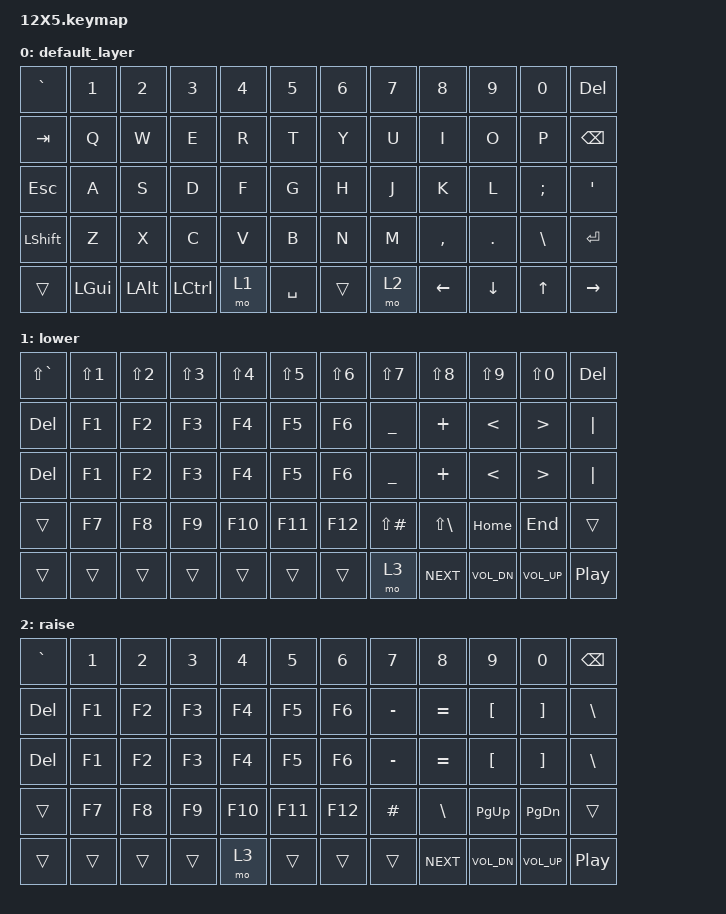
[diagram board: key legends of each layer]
/*
 * Copyright (c) 2020 The ZMK Contributors
 *
 * SPDX-License-Identifier: MIT
 */

#include <behaviors.dtsi>
#include <dt-bindings/zmk/keys.h>
#include <dt-bindings/zmk/bt.h>
#include <dt-bindings/zmk/outputs.h>


/ {
    keymap {
        compatible = "zmk,keymap";

        default_layer {
            /* Qwerty
            * ,-----------------------------------------------------------------------------------.
            * |   `  |   1  |   2  |   3  |   4  |   5  |   6  |   7  |   8  |   9  |   0  | Bksp |
            * |------+------+------+------+------+------+------+------+------+------+------+------|
            * | Tab  |   Q  |   W  |   E  |   R  |   T  |   Y  |   U  |   I  |   O  |   P  | Del  |
            * |------+------+------+------+------+-------------+------+------+------+------+------|
            * | Esc  |   A  |   S  |   D  |   F  |   G  |   H  |   J  |   K  |   L  |   ;  |  "   |
            * |------+------+------+------+------+------|------+------+------+------+------+------|
            * | Shift|   Z  |   X  |   C  |   V  |   B  |   N  |   M  |   ,  |   .  |   /  |Enter |
            * |------+------+------+------+------+------+------+------+------+------+------+------|
            * | Brite| Ctrl | Alt  | GUI  |Lower |    Space    |Raise | Left | Down |  Up  |Right |
            * `-----------------------------------------------------------------------------------'
            */
            bindings = <
                &kp GRAVE     &kp N1     &kp N2     &kp N3     &kp N4     &kp N5     &kp N6     &kp N7     &kp N8     &kp N9     &kp N0     &kp DEL
                &kp TAB       &kp Q      &kp W      &kp E      &kp R      &kp T      &kp Y      &kp U      &kp I      &kp O      &kp P      &kp BSPC
                &kp ESC       &kp A      &kp S      &kp D      &kp F      &kp G      &kp H      &kp J      &kp K      &kp L      &kp SEMI   &kp SQT
                &kp LSHFT     &kp Z      &kp X      &kp C      &kp V      &kp B      &kp N      &kp M      &kp COMMA  &kp DOT    &kp BSLH   &kp RET
                &trans        &kp LGUI   &kp LALT   &kp LCTRL  &mo 1      &kp SPACE  &trans     &mo 2      &kp LEFT   &kp DOWN   &kp UP     &kp RIGHT
            >;
        };


        lower {
            /* Lower
            * ,-----------------------------------------------------------------------------------.
            * |   ~  |   !  |   @  |   #  |   $  |   %  |   ^  |   &  |   *  |   (  |   )  | Bksp |
            * |------+------+------+------+------+-------------+------+------+------+------+------|
            * |   ~  |   !  |   @  |   #  |   $  |   %  |   ^  |   &  |   *  |   -  |   >  | Del  |
            * |------+------+------+------+------+-------------+------+------+------+------+------|
            * | Del  |  F1  |  F2  |  F3  |  F4  |  F5  |  F6  |   -  |   =  |   {  |   }  |  |   |
            * |------+------+------+------+------+------|------+------+------+------+------+------|
            * |CadetL|  F7  |  F8  |  F9  |  F10 |  F11 |  F12 |ISO ~ | MS_BL| MS_BR|      |CadetR|
            * |------+------+------+------+------+------+------+------+------+------+------+------|
            * |      |      |      |      |      |             |      | MS_L | MS_D | MS_U | MS_R |
            * `-----------------------------------------------------------------------------------'
            */
            bindings = <
                &kp LS(GRAVE) &kp LS(N1) &kp LS(N2) &kp LS(N3) &kp LS(N4) &kp LS(N5) &kp LS(N6) &kp LS(N7)   &kp LS(N8)   &kp LS(N9)   &kp LS(N0)   &kp DEL
                &kp DEL       &kp F1     &kp F2     &kp F3     &kp F4     &kp F5     &kp F6     &kp UNDER    &kp PLUS     &kp LT       &kp GT       &kp PIPE
                &kp DEL       &kp F1     &kp F2     &kp F3     &kp F4     &kp F5     &kp F6     &kp UNDER    &kp PLUS     &kp LT       &kp GT       &kp PIPE
                &trans        &kp F7     &kp F8     &kp F9     &kp F10    &kp F11    &kp F12    &kp LS(HASH) &kp LS(BSLH) &kp HOME     &kp END      &trans
                &trans        &trans     &trans     &trans     &trans     &trans     &trans     &mo 3        &kp C_NEXT   &kp C_VOL_DN &kp C_VOL_UP &kp C_PP
            >;
        };

        raise {
            /* Raise
            * ,-----------------------------------------------------------------------------------.
            * |   ~  |   1  |   2  |   3  |   4  |   5  |   6  |   7  |   8  |   9  |   0  | Bksp |
            * |------+------+------+------+------+------+------+------+------+------+------+------|
            * |   `  |   1  |   2  |   3  |   4  |   5  |   6  |   7  |   8  |   <  |   >  | Del  |
            * |------+------+------+------+------+-------------+------+------+------+------+------|
            * | Del  |  F1  |  F2  |  F3  |  F4  |  F5  |  F6  |   _  |   +  |   [  |   ]  |  \   |
            * |------+------+------+------+------+------|------+------+------+------+------+------|
            * |   {  |  F7  |  F8  |  F9  |  F10 |  F11 |  F12 |ISO # | PG_DN| PG_UP|      |  }   |
            * |------+------+------+------+------+------+------+------+------+------+------+------|
            * |      |      |      |      |      |             |      | Next | Vol- | Vol+ | Play |
            * `-----------------------------------------------------------------------------------'
            */
            bindings = < 
                &kp GRAVE &kp N1 &kp N2 &kp N3 &kp N4  &kp N5  &kp N6  &kp N7    &kp N8     &kp N9       &kp N0       &kp BSPC
                &kp DEL   &kp F1 &kp F2 &kp F3 &kp F4  &kp F5  &kp F6  &kp MINUS &kp EQUAL  &kp LBKT     &kp RBKT     &kp BSLH
                &kp DEL   &kp F1 &kp F2 &kp F3 &kp F4  &kp F5  &kp F6  &kp MINUS &kp EQUAL  &kp LBKT     &kp RBKT     &kp BSLH
                &trans    &kp F7 &kp F8 &kp F9 &kp F10 &kp F11 &kp F12 &kp HASH  &kp BSLH   &kp PG_UP    &kp PG_DN    &trans
                &trans    &trans &trans &trans &mo 3   &trans  &trans  &trans    &kp C_NEXT &kp C_VOL_DN &kp C_VOL_UP &kp C_PP
            >;
        };
    };
};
